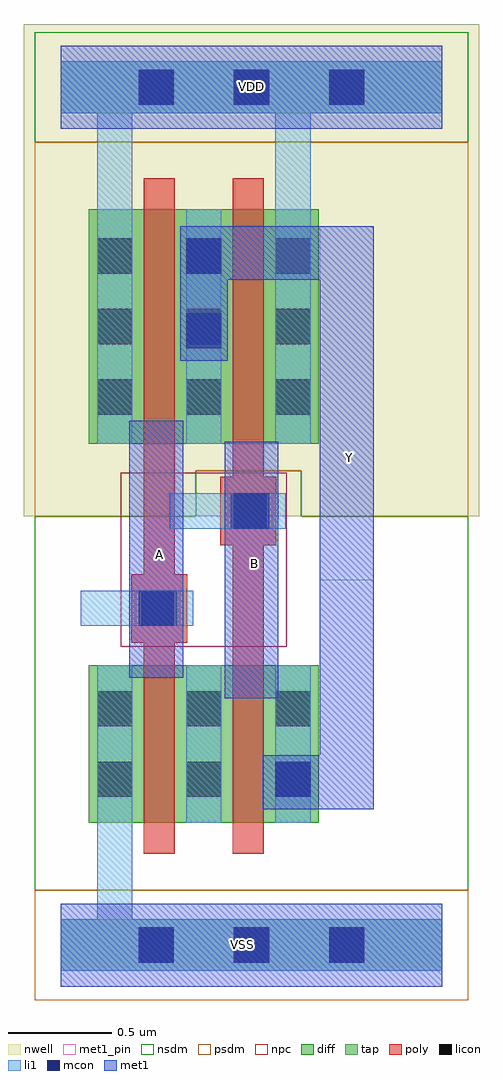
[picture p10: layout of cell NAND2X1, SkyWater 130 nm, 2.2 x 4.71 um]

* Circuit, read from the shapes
.subckt NAND2X1 A B VDD VSS Y
XM1 n1 A VSS VSS sky130_fd_pr__nfet_01v8 w=0.76 l=0.15
XM2 Y B n1 VSS sky130_fd_pr__nfet_01v8 w=0.76 l=0.15
XM3 Y A VDD VDD sky130_fd_pr__pfet_01v8 w=1.13 l=0.15
XM4 VDD B Y VDD sky130_fd_pr__pfet_01v8 w=1.13 l=0.15
.ends

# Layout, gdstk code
from math import pi, radians
import gdstk
lib = gdstk.Library(unit=1e-6, precision=1e-09)
def R(c, l, rs):  # rectangles x0, y0, x1, y1
    for r in rs: c.add(gdstk.rectangle(r[:2], r[2:], *l))
def A(c, l, x, y, w, h, nx, ny, dx, dy):  # array of equal rectangles
    R(c, l, [(x+i*dx, y+j*dy, x+i*dx+w, y+j*dy+h) for i in range(nx) for j in range(ny)])
def P(c, l, *ps):  # polygons
    for p in ps: c.add(gdstk.Polygon(p, *l))
nwell = (64, 20)
diff = (65, 20)
tap = (65, 44)
poly = (66, 20)
licon = (66, 44)
li1 = (67, 20)
mcon = (67, 44)
met1_pin = (68, 16)
met1 = (68, 20)
nsdm = (93, 44)
psdm = (94, 20)
npc = (95, 20)

nfet_01v8_cdns_716492285 = lib.new_cell('nfet_01v8_CDNS_71649228522146')
R(nfet_01v8_cdns_716492285, diff, [(-0.055,0,0,0.76), (0,0,0.15,0.76), (0.15,0,0.415,0.76)])
R(nfet_01v8_cdns_716492285, poly, [(0,-0.15,0.15,-0.095), (0,-0.095,0.15,0), (0,0,0.15,0.76), (0,0.76,0.15,0.855), (0,0.855,0.15,0.91)])
R(nfet_01v8_cdns_716492285, licon, [(0.205,0.125,0.375,0.295), (0.205,0.465,0.375,0.635)])
R(nfet_01v8_cdns_716492285, li1, [(0.205,0,0.375,0.76)])
R(nfet_01v8_cdns_716492285, nsdm, [(-0.065,-0.13,0.555,0.89)])

pfet_01v8_cdns_716492285 = lib.new_cell('pfet_01v8_CDNS_71649228522145')
R(pfet_01v8_cdns_716492285, nwell, [(-0.445,-0.18,0.385,1.31)])
R(pfet_01v8_cdns_716492285, diff, [(-0.265,0,0,1.13), (0,0,0.15,1.13), (0.15,0,0.205,1.13)])
R(pfet_01v8_cdns_716492285, poly, [(0,-0.15,0.15,-0.095), (0,-0.095,0.15,0), (0,0,0.15,1.13), (0,1.13,0.15,1.225), (0,1.225,0.15,1.28)])
A(pfet_01v8_cdns_716492285, licon, -0.225, 0.14, 0.17, 0.17, 1, 3, 0, 0.34)
R(pfet_01v8_cdns_716492285, li1, [(-0.225,0,-0.055,1.13)])
R(pfet_01v8_cdns_716492285, psdm, [(-0.405,-0.13,0.215,1.26)])

c_pfet_01v8_cdns_716492285 = lib.new_cell('pfet_01v8_CDNS_7164922852274')
R(c_pfet_01v8_cdns_716492285, nwell, [(-0.445,-0.18,0.555,1.31)])
R(c_pfet_01v8_cdns_716492285, diff, [(-0.265,0,0,1.13), (0,0,0.15,1.13), (0.15,0,0.375,1.13)])
R(c_pfet_01v8_cdns_716492285, poly, [(0,-0.15,0.15,-0.095), (0,-0.095,0.15,0), (0,0,0.15,1.13), (0,1.13,0.15,1.225), (0,1.225,0.15,1.28)])
A(c_pfet_01v8_cdns_716492285, licon, -0.225, 0.14, 0.17, 0.17, 1, 3, 0, 0.34)
A(c_pfet_01v8_cdns_716492285, licon, 0.205, 0.14, 0.17, 0.17, 1, 3, 0, 0.34)
R(c_pfet_01v8_cdns_716492285, li1, [(-0.225,0,-0.055,1.13), (0.205,0,0.375,1.13)])
R(c_pfet_01v8_cdns_716492285, psdm, [(-0.405,-0.13,0.385,1.26)])

c_nfet_01v8_cdns_716492285 = lib.new_cell('nfet_01v8_CDNS_71649228522165')
R(c_nfet_01v8_cdns_716492285, diff, [(-0.265,0,0,0.76), (0,0,0.15,0.76), (0.15,0,0.375,0.76)])
R(c_nfet_01v8_cdns_716492285, poly, [(0,-0.15,0.15,-0.095), (0,-0.095,0.15,0), (0,0,0.15,0.76), (0,0.76,0.15,0.855), (0,0.855,0.15,0.91)])
R(c_nfet_01v8_cdns_716492285, licon, [(-0.225,0.125,-0.055,0.295), (-0.225,0.465,-0.055,0.635)])
R(c_nfet_01v8_cdns_716492285, li1, [(-0.225,0,-0.055,0.76)])
R(c_nfet_01v8_cdns_716492285, nsdm, [(-0.405,-0.13,0.385,0.89)])

l1m1_c_cdns_716492285223 = lib.new_cell('L1M1_C_CDNS_7164922852231')
R(l1m1_c_cdns_716492285223, li1, [(-0.085,-0.165,0.085,0.165)])
R(l1m1_c_cdns_716492285223, mcon, [(-0.085,-0.085,0.085,0.085)])
R(l1m1_c_cdns_716492285223, met1, [(-0.145,-0.145,0.115,0.115)])

l1m1_c_cdns_716492285225 = lib.new_cell('L1M1_C_CDNS_716492285225')
R(l1m1_c_cdns_716492285225, li1, [(-0.085,-0.345,0.085,0.345)])
R(l1m1_c_cdns_716492285225, mcon, [(-0.085,-0.265,0.085,-0.095), (-0.085,0.095,0.085,0.265)])
R(l1m1_c_cdns_716492285225, met1, [(-0.115,-0.325,0.115,0.325)])

pyl1con_c_cdns_716492285 = lib.new_cell('PYL1CON_C_CDNS_716492285220')
R(pyl1con_c_cdns_716492285, poly, [(-0.135,-0.165,0.135,0.165)])
R(pyl1con_c_cdns_716492285, licon, [(-0.085,-0.085,0.085,0.085)])
R(pyl1con_c_cdns_716492285, npc, [(-0.185,-0.185,0.185,0.185)])

c_l1m1_c_cdns_716492285223 = lib.new_cell('L1M1_C_CDNS_716492285223')
R(c_l1m1_c_cdns_716492285223, li1, [(-0.165,-0.085,0.165,0.085)])
R(c_l1m1_c_cdns_716492285223, mcon, [(-0.085,-0.085,0.085,0.085)])
R(c_l1m1_c_cdns_716492285223, met1, [(-0.115,-0.145,0.115,0.145)])

nand2x1 = lib.new_cell('NAND2X1')
R(nand2x1, nwell, [(-0.18,2.07,2.02,4.305), (-0.18,3.875,2.02,4.445)])
A(nand2x1, licon, 0.375, -0.085, 0.17, 0.17, 3, 2, 0.46, 4.14)
R(nand2x1, licon, [(0.605,0.715,0.775,0.885), (0.605,1.055,0.775,1.225)])
A(nand2x1, mcon, 0.375, -0.085, 0.17, 0.17, 3, 2, 0.46, 4.14)
R(nand2x1, met1_pin, [(0.79,1.19,1.05,2.43), (0.33,1.29,0.59,2.53), (1.25,1.76,1.51,3.47)])
R(nand2x1, nsdm, [(-0.125,3.875,1.965,4.405), (-0.125,3.93,1.965,4.35)])
P(nand2x1, nsdm, [(1.965,2.07),(1.16,2.07),(1.16,2.29),(0.65,2.29),(0.65,2.07),(-0.125,2.07),(-0.125,0.265),(1.965,0.265)])
R(nand2x1, psdm, [(-0.125,-0.265,1.965,0.265), (-0.125,-0.21,1.965,0.21)])
P(nand2x1, psdm, [(1.965,3.875),(-0.125,3.875),(-0.125,2.07),(0.65,2.07),(0.65,2.29),(1.16,2.29),(1.16,2.07),(1.965,2.07)])
R(nand2x1, npc, [(0.29,1.44,1.09,2.28)])
nand2x1.add(gdstk.FlexPath([(0.905,2.27),(0.905,1.5)], 0.15, ends="flush", simple_path=True, layer=66, datatype=20))  # poly
nand2x1.add(gdstk.FlexPath([(0.475,1.5),(0.475,2.27)], 0.15, ends="flush", simple_path=True, layer=66, datatype=20))  # poly
nand2x1.add(gdstk.FlexPath([(0.69,1.35),(0.69,0.59)], 0.17, ends="flush", simple_path=True, layer=67, datatype=20))  # li1
nand2x1.add(gdstk.FlexPath([(0.525,2.095),(1.07,2.095)], 0.17, ends="flush", simple_path=True, layer=67, datatype=20))  # li1
nand2x1.add(gdstk.FlexPath([(0.095,1.625),(0.64,1.625)], 0.17, ends="flush", simple_path=True, layer=67, datatype=20))  # li1
nand2x1.add(gdstk.FlexPath([(0,0),(1.84,0)], 0.25, ends="flush", simple_path=True, layer=67, datatype=20))  # li1
nand2x1.add(gdstk.FlexPath([(0.26,0),(0.215,0)], 0.17, ends=(0.085, 0), simple_path=True, layer=67, datatype=20))  # li1
nand2x1.add(gdstk.FlexPath([(0.26,3.55),(0.26,4.14)], 0.17, ends=(0, 0.125), simple_path=True, layer=67, datatype=20))  # li1
nand2x1.add(gdstk.FlexPath([(0,4.14),(1.84,4.14)], 0.25, ends="flush", simple_path=True, layer=67, datatype=20))  # li1
nand2x1.add(gdstk.FlexPath([(1.12,3.55),(1.12,4.14)], 0.17, ends=(0, 0.125), simple_path=True, layer=67, datatype=20))  # li1
nand2x1.add(gdstk.FlexPath([(0.26,0.59),(0.26,0)], 0.17, ends=(0, 0.085), simple_path=True, layer=67, datatype=20))  # li1
nand2x1.add(gdstk.FlexPath([(1.12,4.14),(0.215,4.14)], 0.17, ends=(0.085, 0), simple_path=True, layer=67, datatype=20))  # li1
nand2x1.add(gdstk.FlexPath([(1.235,0.785),(1.38,0.785)], 0.26, ends=(0, 0.13), simple_path=True, layer=68, datatype=20))  # met1
nand2x1.add(gdstk.FlexPath([(1.38,0.785),(1.38,3.34)], 0.26, ends="extended", simple_path=True, layer=68, datatype=20))  # met1
nand2x1.add(gdstk.FlexPath([(0.46,1.29),(0.46,2.53)], 0.26, ends="flush", simple_path=True, layer=68, datatype=20))  # met1
nand2x1.add(gdstk.FlexPath([(0.92,2.43),(0.92,1.19)], 0.26, ends="flush", simple_path=True, layer=68, datatype=20))  # met1
nand2x1.add(gdstk.FlexPath([(1.38,3.34),(0.805,3.34)], 0.26, ends=(0.13, 0), simple_path=True, layer=68, datatype=20))  # met1
nand2x1.add(gdstk.FlexPath([(0,0),(1.84,0)], 0.4, ends="flush", simple_path=True, layer=68, datatype=20))  # met1
nand2x1.add(gdstk.FlexPath([(0,4.14),(1.84,4.14)], 0.4, ends="flush", simple_path=True, layer=68, datatype=20))  # met1
nand2x1.add(gdstk.FlexPath([(0,4.14),(1.84,4.14)], 0.4, ends="flush", simple_path=True, layer=68, datatype=16))  # met1_pin
nand2x1.add(gdstk.FlexPath([(0,0),(1.84,0)], 0.4, ends="flush", simple_path=True, layer=68, datatype=16))  # met1_pin
nand2x1.add(gdstk.FlexPath([(0,0),(1.84,0)], 0.25, ends="flush", simple_path=True, layer=65, datatype=44))  # tap
nand2x1.add(gdstk.FlexPath([(0,4.14),(1.84,4.14)], 0.25, ends="flush", simple_path=True, layer=65, datatype=44))  # tap
nand2x1.add(gdstk.Reference(nfet_01v8_cdns_716492285, (0.83,0.59)))
nand2x1.add(gdstk.Reference(pfet_01v8_cdns_716492285, (0.98,2.42), rotation=pi, x_reflection=True))
nand2x1.add(gdstk.Reference(c_pfet_01v8_cdns_716492285, (0.4,2.42)))
nand2x1.add(gdstk.Reference(c_nfet_01v8_cdns_716492285, (0.4,0.59)))
nand2x1.add(gdstk.Reference(l1m1_c_cdns_716492285223, (1.12,0.8)))
nand2x1.add(gdstk.Reference(l1m1_c_cdns_716492285225, (0.69,3.145)))
nand2x1.add(gdstk.Reference(pyl1con_c_cdns_716492285, (0.475,1.625), rotation=pi, x_reflection=True))
nand2x1.add(gdstk.Reference(pyl1con_c_cdns_716492285, (0.905,2.095), rotation=pi, x_reflection=True))
nand2x1.add(gdstk.Reference(c_l1m1_c_cdns_716492285223, (0.92,2.095)))
nand2x1.add(gdstk.Reference(c_l1m1_c_cdns_716492285223, (0.46,1.625), x_reflection=True))
nand2x1.add(gdstk.Label('VSS', (0.875,0.005), layer=68, texttype=5))
nand2x1.add(gdstk.Label('VDD', (0.92,4.145), layer=68, texttype=5))
nand2x1.add(gdstk.Label('B', (0.935,1.84), layer=68, texttype=5))
nand2x1.add(gdstk.Label('A', (0.475,1.885), layer=68, texttype=5))
nand2x1.add(gdstk.Label('Y', (1.395,2.355), layer=68, texttype=5))

lib.write_gds('NAND2X1.gds')
